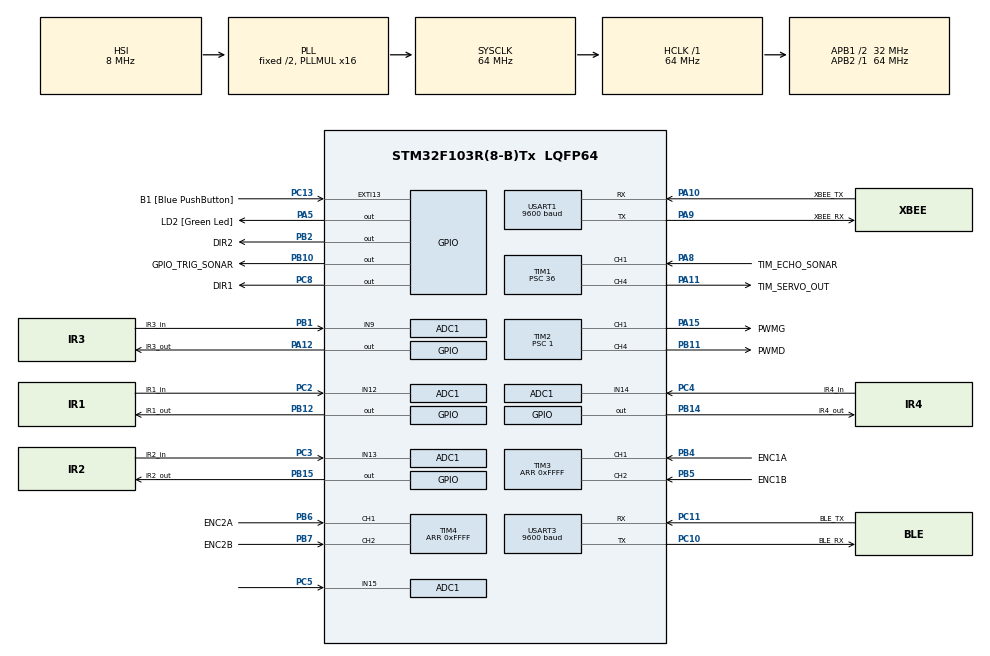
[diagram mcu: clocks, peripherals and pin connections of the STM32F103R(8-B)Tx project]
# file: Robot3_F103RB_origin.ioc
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ADC1.AWD1HighThreshold=4095
ADC1.AWD1ITMode=ENABLE
ADC1.AWD1LowThreshold=2363
ADC1.Channel-0\#ChannelRegularConversion=ADC_CHANNEL_9
ADC1.Channel-1\#ChannelRegularConversion=ADC_CHANNEL_12
ADC1.Channel-2\#ChannelRegularConversion=ADC_CHANNEL_13
ADC1.Channel-3\#ChannelRegularConversion=ADC_CHANNEL_14
ADC1.Channel-4\#ChannelRegularConversion=ADC_CHANNEL_15
ADC1.ContinuousConvMode=DISABLE
ADC1.DataAlign=ADC_DATAALIGN_RIGHT
ADC1.DiscontinuousConvMode=DISABLE
ADC1.EnableAnalogWatchDog=true
ADC1.EnableRegularConversion=ENABLE
ADC1.ExternalTrigConv=ADC_SOFTWARE_START
ADC1.InjNumberOfConversion=0
ADC1.NbrOfConversion=5
ADC1.NbrOfConversionFlag=1
ADC1.Rank-0\#ChannelRegularConversion=1
ADC1.Rank-1\#ChannelRegularConversion=2
ADC1.Rank-2\#ChannelRegularConversion=3
ADC1.Rank-3\#ChannelRegularConversion=4
ADC1.Rank-4\#ChannelRegularConversion=5
ADC1.SamplingTime-0\#ChannelRegularConversion=ADC_SAMPLETIME_239CYCLES_5
ADC1.SamplingTime-1\#ChannelRegularConversion=ADC_SAMPLETIME_239CYCLES_5
ADC1.SamplingTime-2\#ChannelRegularConversion=ADC_SAMPLETIME_239CYCLES_5
ADC1.SamplingTime-3\#ChannelRegularConversion=ADC_SAMPLETIME_239CYCLES_5
ADC1.SamplingTime-4\#ChannelRegularConversion=ADC_SAMPLETIME_239CYCLES_5
ADC1.ScanConvMode=ADC_SCAN_ENABLE
ADC1.WatchdogChannel=ADC_CHANNEL_15
ADC1.WatchdogMode=ADC_ANALOGWATCHDOG_SINGLE_REG
ADC1.master=1
Dma.ADC1.0.Direction=DMA_PERIPH_TO_MEMORY
Dma.ADC1.0.Instance=DMA1_Channel1
Dma.ADC1.0.MemDataAlignment=DMA_MDATAALIGN_HALFWORD
Dma.ADC1.0.MemInc=DMA_MINC_ENABLE
Dma.ADC1.0.Mode=DMA_CIRCULAR
Dma.ADC1.0.PeriphDataAlignment=DMA_PDATAALIGN_HALFWORD
Dma.ADC1.0.PeriphInc=DMA_PINC_DISABLE
Dma.ADC1.0.Priority=DMA_PRIORITY_LOW
Dma.Request0=ADC1
Mcu.Family=STM32F1
Mcu.Name=STM32F103R(8-B)Tx
Mcu.Package=LQFP64
NVIC.ADC1_2_IRQn=true\:0\:0\:false\:false\:true\:true\:true
NVIC.DMA1_Channel1_IRQn=true\:0\:0\:false\:false\:true\:true\:true
NVIC.EXTI15_10_IRQn=true\:0\:0\:false\:true\:true\:1\:true\:true
NVIC.PriorityGroup=NVIC_PRIORITYGROUP_4
NVIC.TIM1_CC_IRQn=true\:0\:0\:false\:false\:true\:true\:true
NVIC.TIM2_IRQn=true\:0\:0\:false\:false\:true\:true\:true
NVIC.USART1_IRQn=true\:0\:0\:false\:false\:true\:true\:true
NVIC.USART3_IRQn=true\:0\:0\:false\:true\:true\:2\:true\:true
PA10.GPIO_Label=XBEE_TX
PA10.Mode=Asynchronous
PA10.Signal=USART1_RX
PA11.GPIO_Label=TIM_SERVO_OUT
PA11.Signal=S_TIM1_CH4
PA12.GPIO_Label=IR3_out
PA12.Signal=GPIO_Output
PA13.GPIO_Label=TMS
PA13.Mode=Serial_Wire
PA13.Signal=SYS_JTMS-SWDIO
PA14.GPIO_Label=TCK
PA14.Mode=Serial_Wire
PA14.Signal=SYS_JTCK-SWCLK
PA15.GPIO_Label=PWMG
PA15.Signal=S_TIM2_CH1_ETR
PA2.GPIO_Label=USART_TX
PA2.GPIO_Mode=GPIO_MODE_AF_PP
PA2.GPIO_PuPd=GPIO_NOPULL
PA2.GPIO_Speed=GPIO_SPEED_FREQ_LOW
PA2.Signal=USART2_TX
PA3.GPIO_Label=USART_RX
PA3.GPIO_Mode=GPIO_MODE_AF_PP
PA3.GPIO_PuPd=GPIO_NOPULL
PA3.GPIO_Speed=GPIO_SPEED_FREQ_LOW
PA3.Signal=USART2_RX
PA5.GPIO_Label=LD2 [Green Led]
PA5.GPIO_ModeDefaultOutputPP=GPIO_MODE_OUTPUT_PP
PA5.GPIO_PuPd=GPIO_NOPULL
PA5.GPIO_Speed=GPIO_SPEED_FREQ_LOW
PA5.Signal=GPIO_Output
PA8.GPIO_Label=TIM_ECHO_SONAR
PA8.Signal=S_TIM1_CH1
PA9.GPIO_Label=XBEE_RX
PA9.Mode=Asynchronous
PA9.Signal=USART1_TX
PB1.GPIO_Label=IR3_in
PB1.Signal=ADCx_IN9
PB10.GPIO_Label=GPIO_TRIG_SONAR
PB10.Signal=GPIO_Output
PB11.GPIO_Label=PWMD
PB11.Signal=S_TIM2_CH4
PB12.GPIO_Label=IR1_out
PB12.Signal=GPIO_Output
PB14.GPIO_Label=IR4_out
PB14.Signal=GPIO_Output
PB15.GPIO_Label=IR2_out
PB15.Signal=GPIO_Output
PB2.GPIO_Label=DIR2
PB2.Signal=GPIO_Output
PB3.GPIO_Label=SWO
PB3.Signal=SYS_JTDO-TRACESWO
PB4.GPIO_Label=ENC1A
PB4.Signal=S_TIM3_CH1
PB5.GPIO_Label=ENC1B
PB5.Signal=S_TIM3_CH2
PB6.GPIO_Label=ENC2A
PB6.Signal=S_TIM4_CH1
PB7.GPIO_Label=ENC2B
PB7.Signal=S_TIM4_CH2
PC10.GPIO_Label=BLE_RX
PC10.Mode=Asynchronous
PC10.Signal=USART3_TX
PC11.GPIO_Label=BLE_TX
PC11.Mode=Asynchronous
PC11.Signal=USART3_RX
PC13-TAMPER-RTC.GPIO_Label=B1 [Blue PushButton]
PC13-TAMPER-RTC.GPIO_ModeDefaultEXTI=GPIO_MODE_IT_FALLING
PC13-TAMPER-RTC.GPIO_PuPd=GPIO_NOPULL
PC13-TAMPER-RTC.Signal=GPXTI13
PC14-OSC32_IN.Signal=RCC_OSC32_IN
PC15-OSC32_OUT.Signal=RCC_OSC32_OUT
PC2.GPIO_Label=IR1_in
PC2.Signal=ADCx_IN12
PC3.GPIO_Label=IR2_in
PC3.Signal=ADCx_IN13
PC4.GPIO_Label=IR4_in
PC4.Signal=ADCx_IN14
PC5.Signal=ADCx_IN15
PC8.GPIO_Label=DIR1
PC8.Signal=GPIO_Output
PD0-OSC_IN.Signal=RCC_OSC_IN
PD1-OSC_OUT.Signal=RCC_OSC_OUT
ProjectManager.HeapSize=0x200
ProjectManager.StackSize=0x400
ProjectManager.TargetToolchain=TrueSTUDIO
RCC.ADCPresc=RCC_ADCPCLK2_DIV8
RCC.AHBFreq_Value=64000000
RCC.APB1CLKDivider=RCC_HCLK_DIV2
RCC.APB1Freq_Value=32000000
RCC.APB1TimFreq_Value=64000000
RCC.APB2Freq_Value=64000000
RCC.APB2TimFreq_Value=64000000
RCC.HCLKFreq_Value=64000000
RCC.PLLMUL=RCC_PLL_MUL16
RCC.SYSCLKFreq_VALUE=64000000
RCC.SYSCLKSource=RCC_SYSCLKSOURCE_PLLCLK
RCC.USBFreq_Value=64000000
SH.ADCx_IN12.0=ADC1_IN12,IN12
SH.ADCx_IN13.0=ADC1_IN13,IN13
SH.ADCx_IN14.0=ADC1_IN14,IN14
SH.ADCx_IN15.0=ADC1_IN15,IN15
SH.ADCx_IN9.0=ADC1_IN9,IN9
SH.S_TIM1_CH1.0=TIM1_CH1,PWM_Input_1
SH.S_TIM1_CH4.0=TIM1_CH4,PWM Generation4 CH4
SH.S_TIM2_CH1_ETR.0=TIM2_CH1,PWM Generation1 CH1
SH.S_TIM2_CH4.0=TIM2_CH4,PWM Generation4 CH4
SH.S_TIM3_CH1.0=TIM3_CH1,Encoder_Interface
SH.S_TIM3_CH2.0=TIM3_CH2,Encoder_Interface
SH.S_TIM4_CH1.0=TIM4_CH1,Encoder_Interface
SH.S_TIM4_CH2.0=TIM4_CH2,Encoder_Interface
TIM1.AutoReloadPreload=TIM_AUTORELOAD_PRELOAD_ENABLE
TIM1.Channel-PWM\ Generation4\ CH4=TIM_CHANNEL_4
TIM1.ICFilter_1=8
TIM1.ICPolarity_1=TIM_INPUTCHANNELPOLARITY_RISING
TIM1.OCPolarity_4=TIM_OCPOLARITY_HIGH
TIM1.Period=0xFFFF
TIM1.Prescaler=36
TIM2.AutoReloadPreload=TIM_AUTORELOAD_PRELOAD_DISABLE
TIM2.Channel-PWM\ Generation1\ CH1=TIM_CHANNEL_1
TIM2.Channel-PWM\ Generation4\ CH4=TIM_CHANNEL_4
TIM2.Period=64000
TIM2.Prescaler=1
TIM3.AutoReloadPreload=TIM_AUTORELOAD_PRELOAD_ENABLE
TIM3.EncoderMode=TIM_ENCODERMODE_TI12
TIM3.IC1Filter=8
TIM3.IC1Polarity=TIM_ICPOLARITY_RISING
TIM3.IC2Filter=8
TIM3.IC2Polarity=TIM_ICPOLARITY_RISING
TIM3.Period=0xFFFF
TIM4.AutoReloadPreload=TIM_AUTORELOAD_PRELOAD_ENABLE
TIM4.EncoderMode=TIM_ENCODERMODE_TI12
TIM4.IC1Filter=8
TIM4.IC1Polarity=TIM_ICPOLARITY_RISING
TIM4.IC2Filter=8
TIM4.IC2Polarity=TIM_ICPOLARITY_RISING
TIM4.Period=0xFFFF
USART1.BaudRate=9600
USART1.VirtualMode=VM_ASYNC
USART3.BaudRate=9600
USART3.VirtualMode=VM_ASYNC
VP_TIM1_VS_ClockSourceINT.Mode=Internal
VP_TIM2_VS_ClockSourceINT.Mode=Internal
board=NUCLEO-F103RB

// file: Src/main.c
/**
  ******************************************************************************
  * @file           : main.c
  * @brief          : Main program body
  ******************************************************************************
  ** This notice applies to any and all portions of this file
  * that are not between comment pairs USER CODE BEGIN and
  * USER CODE END. Other portions of this file, whether
  * inserted by the user or by software development tools
  * are owned by their respective copyright owners.
  *
  * COPYRIGHT(c) 2020 STMicroelectronics
  *
  * Redistribution and use in source and binary forms, with or without modification,
  * are permitted provided that the following conditions are met:
  *   1. Redistributions of source code must retain the above copyright notice,
  *      this list of conditions and the following disclaimer.
  *   2. Redistributions in binary form must reproduce the above copyright notice,
  *      this list of conditions and the following disclaimer in the documentation
  *      and/or other materials provided with the distribution.
  *   3. Neither the name of STMicroelectronics nor the names of its contributors
  *      may be used to endorse or promote products derived from this software
  *      without specific prior written permission.
  *
  * THIS SOFTWARE IS PROVIDED BY THE COPYRIGHT HOLDERS AND CONTRIBUTORS "AS IS"
  * AND ANY EXPRESS OR IMPLIED WARRANTIES, INCLUDING, BUT NOT LIMITED TO, THE
  * IMPLIED WARRANTIES OF MERCHANTABILITY AND FITNESS FOR A PARTICULAR PURPOSE ARE
  * DISCLAIMED. IN NO EVENT SHALL THE COPYRIGHT HOLDER OR CONTRIBUTORS BE LIABLE
  * FOR ANY DIRECT, INDIRECT, INCIDENTAL, SPECIAL, EXEMPLARY, OR CONSEQUENTIAL
  * DAMAGES (INCLUDING, BUT NOT LIMITED TO, PROCUREMENT OF SUBSTITUTE GOODS OR
  * SERVICES; LOSS OF USE, DATA, OR PROFITS; OR BUSINESS INTERRUPTION) HOWEVER
  * CAUSED AND ON ANY THEORY OF LIABILITY, WHETHER IN CONTRACT, STRICT LIABILITY,
  * OR TORT (INCLUDING NEGLIGENCE OR OTHERWISE) ARISING IN ANY WAY OUT OF THE USE
  * OF THIS SOFTWARE, EVEN IF ADVISED OF THE POSSIBILITY OF SUCH DAMAGE.
  *
  ******************************************************************************
  */
#include "main.h"
#include "stm32f1xx_hal.h"
#include "adc.h"
#include "dma.h"
#include "tim.h"
#include "usart.h"
#include "gpio.h"

/* USER CODE BEGIN Includes */
#include <stdlib.h>
#include <stdio.h>
/* USER CODE END Includes */

/* USER CODE BEGIN PV */
/* Private variables ---------------------------------------------------------*/
#define AVANCE 	GPIO_PIN_SET
#define RECULE  GPIO_PIN_RESET
#define POURCENT 640
#define Seuil_Dist_4 1289 // corespond � 10 cm.
#define Seuil_Dist_3 1093
#define Seuil_Dist_1 1003
#define Seuil_Dist_2 1142
#define V1 38
#define V2 56
#define V3 76
#define Vmax 95
#define T_2_S 1000 //( pwm p�riode = 2 ms )
#define T_200_MS 100
#define T_2000_MS 1000
#define CKp_D 100  //80 Robot1
#define CKp_G 100  //80 Robot1
#define CKi_D 80  //50 Robot1
#define CKi_G 80  //50 Robot1
#define CKd_D 0
#define CKd_G 0
#define DELTA 0x50

// Variable du PWM compare servo-moteur
#define SERVO_DROITE	800
#define SERVO_CENTRE	2300
#define SERVO_GAUCHE	7100

/*
Lorsque on envoit une commande en bluetooth avec le téléphone, on envoit :
Avance = FX (X = 1, 2, 3)
Recule = BX
Droite = RX
Gauche = LX
Park = W/w
Movpark = U/u

Une fois cette variable récupéré, on va mettre NewCmde =1 (dans l'intérruption) et dans gestion_commande() on va détecter si on a recue une commande
On check la commande que c'est et surtout l'état dans lequel on est...
Parce que si on envoit F alors qu'on avance déja, on doit augmenter la vitesse alors que si on est dans recule, on s'arrete
*/

enum CMDE {
	START,
	STOP,
	AVANT,
	ARRIERE,
	DROITE,
	GAUCHE,
	PARK,
	MOVPARK
};

volatile enum CMDE CMDE;
volatile unsigned char New_CMDE = 0; // Si ya une nouvelle commande

// Mode de fonctionnement du robot
enum MODE {
	SLEEP, ACTIF, PARKMODE, GOPARK
};

volatile enum MODE Mode; // Mode du robot en cours (avancer / Reculer etc... ou MOVPARK / PARK)

volatile uint16_t Dist_ACS_1, Dist_ACS_2, Dist_ACS_3, Dist_ACS_4, VBat; // Valeurs ADC
volatile unsigned int Time = 0;
volatile unsigned int Tech = 0;

volatile unsigned int Taddon = 0;
volatile unsigned int Tservo = 0; // Permet d'attendre que le servo se positionne (2 secondes minimum)

volatile unsigned int TRotation = 0;
volatile unsigned int T_sonar = 0; // Temps permettant de faire une mesure tous les X ms
uint16_t adc_buffer[10];
uint16_t Buff_Dist[8];

uint8_t BLUE_RX; // Buffer des commandes bluetooth recues
uint8_t XBEE_RX[7]; // ZIGBEE RECUES

char XBEE_TX[7]; // ZIGBEE TRANSMISES
char BLUE_ETAT_TX[100]; // Bluetooth recues
char BLUE_SONAR_TX[100];
volatile int position_recue = 0;
volatile int confirmation_reception_position = 0;
volatile char adresse_cible_xbee = 0;
volatile char adresse_robot = 'B';

uint16_t _DirG, _DirD, DirD, DirG; // Futures directions des chenilles D et G et les actuelles
uint16_t _CVitD, CVitD = 0; // Future vitesse D et actuelle
uint16_t _CVitG, CVitG = 0; // Future vitesse G et actuelle
uint16_t VitD, VitG, DistD, DistG;
uint16_t DistD_old = 0; // Ancienne distance parcourue par D
uint16_t DistG_old = 0;// Ancienne distance parcourue par G
int Cmde_VitD = 0;
int Cmde_VitG = 0;
unsigned long Dist_parcours = 0;
unsigned long _Dist_parcours = 0;
volatile uint32_t Dist_Obst;
uint32_t Dist_Obst_;
uint32_t Dist_Obst_cm;
uint32_t Dist;
uint8_t UNE_FOIS = 1;
uint32_t OV = 0;

volatile uint32_t position_test[] = {0, 0, 0}; // Positions de test de assistpark
uint32_t position[3]; // POsitions temporaires de park

uint16_t getTicks = 0;
uint16_t getTicksBack = 0;

volatile uint32_t distance_sonar = 0;
/* USER CODE END PV */

void SystemClock_Config(void);
static void MX_NVIC_Init(void);

/* USER CODE BEGIN PFP */
/* Private function prototypes -----------------------------------------------*/
void Gestion_Commandes(void);
void regulateur(void);
void controle(void);
void Calcul_Vit(void);
void ACS(void);
void HAL_GPIO_ACQ_SONAR(void);
void HAL_MOV_SERVO(void);
void park (void);
void addon(void);
int respectTime(int chrono, int timeToWait);
void attentePark(void);
void avance(void);
void recule(void);
void droite(void);
void gauche(void);
void stop(void);
/* USER CODE END PFP */

int main(void)
{

  /* MCU Configuration----------------------------------------------------------*/

  /* Reset of all peripherals, Initializes the Flash interface and the Systick. */
  HAL_Init();

  /* USER CODE BEGIN Init */
	Dist_Obst = 0;
  /* USER CODE END Init */

  /* Configure the system clock */
  SystemClock_Config();

  /* Initialize all configured peripherals */
  MX_GPIO_Init();
  MX_DMA_Init();
  MX_ADC1_Init();
  MX_TIM2_Init();
  MX_TIM3_Init();
  MX_TIM4_Init();
  MX_USART3_UART_Init();
  MX_TIM1_Init();
  MX_USART1_UART_Init();

  /* Initialize interrupts */
  MX_NVIC_Init();
  /* USER CODE BEGIN 2 */
	HAL_SuspendTick(); // suppresion des Tick interrupt pour le mode sleep.

	HAL_TIM_PWM_Start(&htim2, TIM_CHANNEL_4);  // Start PWM motor
	HAL_TIM_PWM_Start(&htim2, TIM_CHANNEL_1);
	HAL_TIM_Base_Start_IT(&htim2);  // Start IT sur font montant PWM

	HAL_TIM_Encoder_Start(&htim3, TIM_CHANNEL_ALL);
	HAL_TIM_Encoder_Start(&htim4, TIM_CHANNEL_ALL);

	__HAL_TIM_SET_COUNTER(&htim4, 30000);
	__HAL_TIM_SET_COUNTER(&htim3, 30000);

	HAL_UART_Receive_IT(&huart3, &BLUE_RX, 1);
	HAL_UART_Receive_IT(&huart1, XBEE_RX, 7);
	HAL_ADC_Start_IT(&hadc1);

	HAL_TIM_IC_Start_IT(&htim1, TIM_CHANNEL_1); // start interrupt TIM1 sur channel 1
	HAL_TIM_IC_Start_IT(&htim1, TIM_CHANNEL_2); // start interrupt TIM1 sur channel 2 - sonar
	HAL_TIM_Base_Start_IT(&htim1);

	HAL_GPIO_WritePin(GPIOB, GPIO_PIN_10, GPIO_PIN_SET);  //mettre trig_sonar en marchant

	HAL_TIM_PWM_Start(&htim1, TIM_CHANNEL_4); //lancement de PWM servo moteur

	__HAL_TIM_SET_COMPARE(&htim1, TIM_CHANNEL_4, SERVO_CENTRE);

	CMDE = STOP;
	New_CMDE = 1;

  /* USER CODE END 2 */

  /* Infinite loop */
  /* USER CODE BEGIN WHILE */

  while (1)
  {
	  Gestion_Commandes();
	  controle();
  /* USER CODE END WHILE */

  }

}

void SystemClock_Config(void)
{

  RCC_OscInitTypeDef RCC_OscInitStruct;
  RCC_ClkInitTypeDef RCC_ClkInitStruct;
  RCC_PeriphCLKInitTypeDef PeriphClkInit;

    /**Initializes the CPU, AHB and APB busses clocks
    */
  RCC_OscInitStruct.OscillatorType = RCC_OSCILLATORTYPE_HSI;
  RCC_OscInitStruct.HSIState = RCC_HSI_ON;
  RCC_OscInitStruct.HSICalibrationValue = 16;
  RCC_OscInitStruct.PLL.PLLState = RCC_PLL_ON;
  RCC_OscInitStruct.PLL.PLLSource = RCC_PLLSOURCE_HSI_DIV2;
  RCC_OscInitStruct.PLL.PLLMUL = RCC_PLL_MUL16;
  if (HAL_RCC_OscConfig(&RCC_OscInitStruct) != HAL_OK)
  {
    _Error_Handler(__FILE__, __LINE__);
  }

    /**Initializes the CPU, AHB and APB busses clocks
    */
  RCC_ClkInitStruct.ClockType = RCC_CLOCKTYPE_HCLK|RCC_CLOCKTYPE_SYSCLK
                              |RCC_CLOCKTYPE_PCLK1|RCC_CLOCKTYPE_PCLK2;
  RCC_ClkInitStruct.SYSCLKSource = RCC_SYSCLKSOURCE_PLLCLK;
  RCC_ClkInitStruct.AHBCLKDivider = RCC_SYSCLK_DIV1;
  RCC_ClkInitStruct.APB1CLKDivider = RCC_HCLK_DIV2;
  RCC_ClkInitStruct.APB2CLKDivider = RCC_HCLK_DIV1;

  if (HAL_RCC_ClockConfig(&RCC_ClkInitStruct, FLASH_LATENCY_2) != HAL_OK)
  {
    _Error_Handler(__FILE__, __LINE__);
  }

  PeriphClkInit.PeriphClockSelection = RCC_PERIPHCLK_ADC;
  PeriphClkInit.AdcClockSelection = RCC_ADCPCLK2_DIV8;
  if (HAL_RCCEx_PeriphCLKConfig(&PeriphClkInit) != HAL_OK)
  {
    _Error_Handler(__FILE__, __LINE__);
  }

    /**Configure the Systick interrupt time
    */
  HAL_SYSTICK_Config(HAL_RCC_GetHCLKFreq()/1000);

    /**Configure the Systick
    */
  HAL_SYSTICK_CLKSourceConfig(SYSTICK_CLKSOURCE_HCLK);

  /* SysTick_IRQn interrupt configuration */
  HAL_NVIC_SetPriority(SysTick_IRQn, 0, 0);
}

/**
  * @brief NVIC Configuration.
  * @retval None
  */
static void MX_NVIC_Init(void)
{
  /* EXTI15_10_IRQn interrupt configuration */
  HAL_NVIC_SetPriority(EXTI15_10_IRQn, 0, 0);
  HAL_NVIC_EnableIRQ(EXTI15_10_IRQn);
  /* USART3_IRQn interrupt configuration */
  HAL_NVIC_SetPriority(USART3_IRQn, 0, 0);
  HAL_NVIC_EnableIRQ(USART3_IRQn);
}

/* USER CODE BEGIN 4 */
void Gestion_Commandes(void)
{
	enum ETAT {
		VEILLE,
		ARRET,
		AV1,
		AV2,
		AV3,
		RV1,
		RV2,
		RV3,
		DV1,
		DV2,
		DV3,
		GV1,
		GV2,
		GV3
	};
	static enum ETAT Etat = VEILLE;

if (New_CMDE) {
		New_CMDE = 0;
		_Dist_parcours = Dist_parcours;
		Dist_parcours = 0;
		switch (CMDE) {
			case STOP:
			{
				_CVitD = _CVitG = 0;
				// Mise en sommeil: STOP mode , reiveil via IT BP1
				Etat = VEILLE;
				Mode = SLEEP;

				break;
			}
			case START:
			{
				// rziveil syteme grace a l'IT BP1
				Etat = ARRET;
				Mode = SLEEP;

				break;
			}
			case AVANT:
			{
				switch (Etat) {
				case VEILLE: {
					Etat = VEILLE;
					Mode = SLEEP;
					break;
				}
				case ARRET: {
					_DirG = AVANCE;
					_DirD = AVANCE;
					_CVitG = V1;
					_CVitD = V1;
					Etat = AV1;
					Mode = ACTIF;
					break;
				}
				case AV1: {
					_DirG = AVANCE;
					_DirD = AVANCE;
					_CVitG = V2;
					_CVitD = V2;
					Etat = AV2;
					Mode = ACTIF;
					break;
				}
				case AV2: {
					_DirG = AVANCE;
					_DirD = AVANCE;
					_CVitG = V3;
					_CVitD = V3 ;
					Etat = AV3;
					Mode = ACTIF;
					break;
				}
				case AV3: {
					_DirG = AVANCE;
					_DirD = AVANCE;
					_CVitG = V3;
					_CVitD = V3 ;
					Etat = AV3;
					Mode = ACTIF;
					break;
				}
				case RV1: {
					_DirG = RECULE;
					_DirD = RECULE;
					_CVitG = 0;
					_CVitD = 0;
					Etat = ARRET;
					Mode = SLEEP;

					break;
				}
				case RV2: {
					_DirG = RECULE;
					_DirD = RECULE;
					_CVitG = V1;
					_CVitD = V1;
					Etat = RV1;
					Mode = ACTIF;
					break;
				}
				case RV3: {
					_DirG = RECULE;
					_DirD = RECULE;
					_CVitG = V2;
					_CVitD = V2;
					Etat = RV2;
					Mode = ACTIF;
					break;
				}
				case DV1: {
					_DirG = AVANCE;
					_DirD = AVANCE;
					_CVitG = V1;
					_CVitD = V1;
					Etat = AV1;
					Mode = ACTIF;
					break;
				}
				case DV2: {
					_DirG = AVANCE;
					_DirD = AVANCE;
					_CVitG = V2;
					_CVitD = V2;
					Etat = AV2;
					Mode = ACTIF;
					break;
				}
				case DV3: {
					_DirG = AVANCE;
					_DirD = AVANCE;
					_CVitG = V3;
					_CVitD = V3;
					Etat = AV3;
					Mode = ACTIF;
					break;
				}
				case GV1: {
					_DirG = AVANCE;
					_DirD = AVANCE;
					_CVitG = V1;
					_CVitD = V1;
					Etat = AV2;
					Mode = ACTIF;
					break;
				}
				case GV2: {
					_DirG = AVANCE;
					_DirD = AVANCE;
					_CVitG = V2;
					_CVitD = V2;
					Etat = AV2;
					Mode = ACTIF;
					break;
				}
				case GV3: {
					_DirG = AVANCE;
					_DirD = AVANCE;
					_CVitG = V3;
					_CVitD = V3;
					Etat = AV3;
					Mode = ACTIF;
					break;
				}
				}
				break;
			}
			case ARRIERE:
			{
				switch (Etat) {
				case VEILLE: {
					Etat = VEILLE;
					Mode = SLEEP;
					break;
				}
				case ARRET: {
					_DirG = RECULE;
					_DirD = RECULE;
					_CVitG = V1;
					_CVitD = V1;
					Etat = RV1;
					Mode = ACTIF;
					break;
				}
				case AV1: {
					_DirG = AVANCE;
					_DirD = AVANCE;
					_CVitG = 0;
					_CVitD = 0;
					Etat = ARRET;
					Mode = SLEEP;

					break;
				}
				case AV2: {
					_DirG = AVANCE;
					_DirD = AVANCE;
					_CVitG = V1;
					_CVitD = V1;
					Etat = AV1;
					Mode = ACTIF;
					break;
				}
				case AV3: {
					_DirG = AVANCE;
					_DirD = AVANCE;
					_CVitG = V2;
					_CVitD = V2;
					Etat = AV2;
					Mode = ACTIF;
					break;
				}
				case RV1: {
					_DirG = RECULE;
					_DirD = RECULE;
					_CVitG = V2;
					_CVitD = V2;
					Etat = RV2;
					Mode = ACTIF;
					break;
				}
				case RV2: {
					_DirG = RECULE;
					_DirD = RECULE;
					_CVitG = V3;
					_CVitD = V3;
					Etat = RV3;
					Mode = ACTIF;
					break;
				}
				case RV3: {
					_DirG = RECULE;
					_DirD = RECULE;
					_CVitG = V3;
					_CVitD = V3;
					Etat = RV3;
					Mode = ACTIF;
					break;
				}
				case DV1: {
					_DirG = RECULE;
					_DirD = RECULE;
					_CVitG = V1;
					_CVitD = V1;
					Etat = RV1;
					Mode = ACTIF;
					break;
				}
				case DV2: {
					_DirG = RECULE;
					_DirD = RECULE;
					_CVitG = V2;
					_CVitD = V2;
					Etat = RV2;
					Mode = ACTIF;
					break;
				}
				case DV3: {
					_DirG = RECULE;
					_DirD = RECULE;
					_CVitG = V3;
					_CVitD = V3;
					Etat = RV3;
					Mode = ACTIF;
					break;
				}
				case GV1: {
					_DirG = RECULE;
					_DirD = RECULE;
					_CVitG = V1;
					_CVitD = V1;
					Etat = RV1;
					Mode = ACTIF;
					break;
				}
				case GV2: {
					_DirG = RECULE;
					_DirD = RECULE;
					_CVitG = V2;
					_CVitD = V2;
					Etat = RV2;
					Mode = ACTIF;
					break;
				}
				case GV3: {
					_DirG = RECULE;
					_DirD = RECULE;
					_CVitG = V3;
					_CVitD = V3;
					Etat = RV3;
					Mode = ACTIF;
					break;
				}
				}
				break;
			}
			case DROITE:
			{
				switch (Etat) {
				case VEILLE: {
					Etat = VEILLE;
					Mode = SLEEP;
					break;
				}
				case ARRET: {
					_DirG = AVANCE;
					_DirD = RECULE;
					_CVitG = V1;
					_CVitD = V1;
					Etat = DV1;
					Mode = ACTIF;
					break;
				}
				case AV1: {
					_DirG = AVANCE;
					_DirD = RECULE;
					_CVitG = V1;
					_CVitD = V1;
					Etat = DV1;
					Mode = ACTIF;
					break;
				}
				case AV2: {
					_DirG = AVANCE;
					_DirD = RECULE;
					_CVitG = V2;
					_CVitD = V2;
					Etat = DV2;
					Mode = ACTIF;
					break;
				}
				case AV3: {
					_DirG = AVANCE;
					_DirD = RECULE;
					_CVitG = V3;
					_CVitD = V3;
					Etat = DV3;
					Mode = ACTIF;
					break;
				}
				case RV1: {
					_DirG = AVANCE;
					_DirD = RECULE;
					_CVitG = V1;
					_CVitD = V1;
					Etat = DV1;
					Mode = ACTIF;
					break;
				}
				case RV2: {
					_DirG = AVANCE;
					_DirD = RECULE;
					_CVitG = V2;
					_CVitD = V2;
					Etat = DV2;
					Mode = ACTIF;
					break;
				}
				case RV3: {
					_DirG = AVANCE;
					_DirD = RECULE;
					_CVitG = V3;
					_CVitD = V3;
					Etat = DV3;
					Mode = ACTIF;
					break;
				}
				case DV1: {
					_DirG = AVANCE;
					_DirD = RECULE;
					_CVitG = V2;
					_CVitD = V2;
					Etat = DV2;
					Mode = ACTIF;
					break;
				}
				case DV2: {
					_DirG = AVANCE;
					_DirD = RECULE;
					_CVitG = V3;
					_CVitD = V3;
					Etat = DV3;
					Mode = ACTIF;
					break;
				}
				case DV3: {
					_DirG = AVANCE;
					_DirD = RECULE;
					_CVitG = V3;
					_CVitD = V3;
					Etat = DV3;
					Mode = ACTIF;
					break;
				}
				case GV1: {
					_DirG = RECULE;
					_DirD = RECULE;
					_CVitG = 0;
					_CVitD = 0;
					Etat = ARRET;
					Mode = SLEEP;

					break;
				}
				case GV2: {
					_DirG = RECULE;
					_DirD = AVANCE;
					_CVitG = V1;
					_CVitD = V1;
					Etat = GV1;
					Mode = ACTIF;
					break;
				}
				case GV3: {
					_DirG = RECULE;
					_DirD = AVANCE;
					_CVitG = V2;
					_CVitD = V2;
					Etat = GV2;
					Mode = ACTIF;
					break;
				}
				}
				break;
			}
			case GAUCHE:
			{
				switch (Etat) {
				case VEILLE: {
					Etat = VEILLE;
					Mode = SLEEP;
					break;
				}
				case ARRET: {
					_DirG = RECULE;
					_DirD = AVANCE;
					_CVitG = V1;
					_CVitD = V1;
					Etat = GV1;
					Mode = ACTIF;
					break;
				}
				case AV1: {
					_DirG = RECULE;
					_DirD = AVANCE;
					_CVitG = V1;
					_CVitD = V1;
					Etat = GV1;
					Mode = ACTIF;
					break;
				}
				case AV2: {
					_DirG = RECULE;
					_DirD = AVANCE;
					_CVitG = V2;
					_CVitD = V2;
					Etat = GV2;
					Mode = ACTIF;
					break;
				}
				case AV3: {
					_DirG = RECULE;
					_DirD = AVANCE;
					_CVitG = V3;
					_CVitD = V3;
					Etat = GV3;
					Mode = ACTIF;
					break;
				}
				case RV1: {
					_DirG = RECULE;
					_DirD = AVANCE;
					_CVitG = V1;
					_CVitD = V1;
					Etat = GV1;
					Mode = ACTIF;
					break;
				}
				case RV2: {
					_DirG = RECULE;
					_DirD = AVANCE;
					_CVitG = V2;
					_CVitD = V2;
					Etat = GV2;
					Mode = ACTIF;
					break;
				}
				case RV3: {
					_DirG = RECULE;
					_DirD = AVANCE;
					_CVitG = V3;
					_CVitD = V3;
					Etat = GV3;
					Mode = ACTIF;
					break;
				}
				case DV1: {
					_DirG = RECULE;
					_DirD = RECULE;
					_CVitG = 0;
					_CVitD = 0;
					Etat = ARRET;
					Mode = SLEEP;

					break;
				}
				case DV2: {
					_DirG = AVANCE;
					_DirD = RECULE;
					_CVitG = V1;
					_CVitD = V1;
					Etat = DV1;
					Mode = ACTIF;
					break;
				}
				case DV3: {
					_DirG = AVANCE;
					_DirD = RECULE;
					_CVitG = V2;
					_CVitD = V2;
					Etat = DV2;
					Mode = ACTIF;
					break;
				}
				case GV1: {
					_DirG = RECULE;
					_DirD = AVANCE;
					_CVitG = V2;
					_CVitD = V2;
					Etat = GV2;
					Mode = ACTIF;
					break;
				}
				case GV2: {
					_DirG = RECULE;
					_DirD = AVANCE;
					_CVitG = V3;
					_CVitD = V3;
					Etat = GV3;
					Mode = ACTIF;
					break;
				}
				case GV3: {
					_DirG = RECULE;
					_DirD = AVANCE;
					_CVitG = V3;
					_CVitD = V3;
					Etat = GV3;
					Mode = ACTIF;
					break;
				}
				}
				break;

			}
			case PARK:
			{
				Etat = ARRET;
				Mode = PARKMODE;
				break;

			}
			case MOVPARK :
			{
				Etat = ARRET;
				Mode = GOPARK;
				break;
			}
		}
	}
}

void controle(void)
{

	if (Tech >= T_200_MS) {
		Tech = 0;
		ACS();
		Calcul_Vit();
		park();
		attentePark();
		regulateur();

	}

}

void ACS(void)
{
	enum ETAT {
		ARRET, ACTIFE
	};
	static enum ETAT Etat = ARRET;
	static uint16_t Delta1 = 0;
	static uint16_t Delta2 = 0;
	static uint16_t Delta3 = 0;
	static uint16_t Delta4 = 0;

	switch (Etat) {
	case ARRET: {
		if (Mode == ACTIF )
			Etat = ACTIFE;
		else {
			CVitD = _CVitD;
			CVitG = _CVitG;
			DirD = _DirD;
			DirG = _DirG;
		}
		break;
	}
	case ACTIFE: {
		if (Mode == SLEEP)
			Etat = ARRET;
		if (_DirD == AVANCE && _DirG == AVANCE) {
			if ((Dist_ACS_1 < Seuil_Dist_1 - Delta1)
					&& (Dist_ACS_2 < Seuil_Dist_2 - Delta2)) {
				CVitD = _CVitD;
				CVitG = _CVitG;
				DirD = _DirD;
				DirG = _DirG;
				Delta1 = Delta2 = 0;
			} else if ((Dist_ACS_1 < Seuil_Dist_1)
					&& (Dist_ACS_2 > Seuil_Dist_2)) {
				CVitD = V1;
				CVitG = V1;
				DirG = AVANCE;
				DirD = RECULE;
				Delta2 = DELTA;
			} else if ((Dist_ACS_1 > Seuil_Dist_1)
					&& (Dist_ACS_2 < Seuil_Dist_2)) {
				CVitD = V1;
				CVitG = V1;
				DirD = AVANCE;
				DirG = RECULE;
				Delta1 = DELTA;
			} else if ((Dist_ACS_1 > Seuil_Dist_1)
					&& (Dist_ACS_2 > Seuil_Dist_2)) {
				CVitD = 0;
				CVitG = 0;
				DirD = RECULE;
				DirG = RECULE;
			}
		} else if (_DirD == RECULE && _DirG == RECULE) {
			if ((Dist_ACS_3 < Seuil_Dist_3 - Delta3)
					&& (Dist_ACS_4 < Seuil_Dist_4 - Delta4)) {
				CVitD = _CVitD;
				CVitG = _CVitG;
				DirD = _DirD;
				DirG = _DirG;
				Delta3 = Delta4 = 0;
			} else if ((Dist_ACS_3 > Seuil_Dist_3)
					&& (Dist_ACS_4 < Seuil_Dist_4)) {
				CVitD = V1;
				CVitG = V1;
				DirD = AVANCE;
				DirG = RECULE;
				Delta3 = DELTA;
			} else if ((Dist_ACS_3 < Seuil_Dist_3)
					&& (Dist_ACS_4 > Seuil_Dist_4)) {
				CVitD = V1;
				CVitG = V1;
				DirG = AVANCE;
				DirD = RECULE;
				Delta4 = DELTA;
			} else if ((Dist_ACS_3 > Seuil_Dist_3)
					&& (Dist_ACS_4 > Seuil_Dist_4)) {
				CVitD = 0;
				CVitG = 0;
				DirD = RECULE;
				DirG = RECULE;
			}
		} else {
			CVitD = _CVitD;
			CVitG = _CVitG;
			DirD = _DirD;
			DirG = _DirG;
		}
		break;
	}
	}
}

void Calcul_Vit(void)
{

	DistD = __HAL_TIM_GET_COUNTER(&htim3);
	DistG = __HAL_TIM_GET_COUNTER(&htim4);

	VitD = abs(DistD - DistD_old);
	VitG = abs(DistG - DistG_old);
	DistD_old = DistD;
	DistG_old = DistG;
	if (DirD == DirG) {
		Dist_parcours = Dist_parcours + ((VitD + VitG) >> 1);
	}
}

void regulateur(void)
{
	enum ETAT {
		ARRET, ACTIFE
	};
	static enum ETAT Etat = ARRET;
	uint16_t Kp_D = CKp_D;
	uint16_t Kp_G = CKp_G;
	uint16_t Ki_D = CKi_D;
	uint16_t Ki_G = CKi_G;
	uint16_t Kd_D = CKd_D;
	uint16_t Kd_G = CKd_G;

	static int16_t ErreurD = 0;
	static int16_t ErreurG = 0;
	static int16_t ErreurD_old = 0;
	static int16_t ErreurG_old = 0;
	static int16_t S_erreursD = 0;
	static int16_t S_erreursG = 0;
	static int16_t V_erreurD = 0;
	static int16_t V_erreurG = 0;

	switch (Etat) {
	case ARRET: {
		if ((Mode == ACTIF) || (Mode == PARKMODE) || (Mode == GOPARK))
			Etat = ACTIFE;
		else {
			__HAL_TIM_SET_COMPARE(&htim2, TIM_CHANNEL_4, 0);
			__HAL_TIM_SET_COMPARE(&htim2, TIM_CHANNEL_1, 0);
			HAL_TIM_PWM_Stop(&htim2, TIM_CHANNEL_4);
			HAL_TIM_PWM_Stop(&htim2, TIM_CHANNEL_1);
			HAL_GPIO_WritePin(IR3_out_GPIO_Port, IR3_out_Pin, GPIO_PIN_RESET);
			HAL_GPIO_WritePin(IR4_out_GPIO_Port, IR4_out_Pin, GPIO_PIN_RESET);
			HAL_GPIO_WritePin(IR1_out_GPIO_Port, IR1_out_Pin, GPIO_PIN_RESET);
			HAL_GPIO_WritePin(IR2_out_GPIO_Port, IR2_out_Pin, GPIO_PIN_RESET);

			HAL_PWR_EnterSLEEPMode(PWR_LOWPOWERREGULATOR_ON,
					PWR_SLEEPENTRY_WFI);

			__HAL_TIM_SET_COMPARE(&htim2, TIM_CHANNEL_4, 0);
			__HAL_TIM_SET_COMPARE(&htim2, TIM_CHANNEL_1, 0);
			HAL_TIM_PWM_Start(&htim2, TIM_CHANNEL_4);
			HAL_TIM_PWM_Start(&htim2, TIM_CHANNEL_1);
			Time = 0;
		}
		break;
	}
	case ACTIFE: {
		if ((CVitD != 0) && (CVitG != 0))
			Time = 0;
		if ((Mode == SLEEP) && (VitD == 0) && (VitG == 0) && Time > T_2_S)
			Etat = ARRET;
		else {
			ErreurD = CVitD - VitD;
			ErreurG = CVitG - VitG;
			S_erreursD += ErreurD;
			S_erreursG += ErreurG;
			V_erreurD = ErreurD - ErreurD_old;
			V_erreurG = ErreurG - ErreurG_old;
			ErreurD_old = ErreurD;
			ErreurG_old = ErreurG;
			Cmde_VitD = (unsigned int) Kp_D * (int) (ErreurD)
					+ (unsigned int) Ki_D * ((int) S_erreursD)
					+ (unsigned int) Kd_D * (int) V_erreurD;
			Cmde_VitG = (unsigned int) Kp_G * (int) (ErreurG)
					+ (unsigned int) Ki_G * ((int) S_erreursG)
					+ (unsigned int) Kd_G * (int) V_erreurG;

			//Cmde_VitD = _CVitD*640;
			//Cmde_VitG = _CVitG*640;
			//	DirD = _DirD;
			//	DirG= _DirG;

			if (Cmde_VitD < 0)
				Cmde_VitD = 0;
			if (Cmde_VitG < 0)
				Cmde_VitG = 0;
			if (Cmde_VitD > 100 * POURCENT)
				Cmde_VitD = 100 * POURCENT;
			if (Cmde_VitG > 100 * POURCENT)
				Cmde_VitG = 100 * POURCENT;
			__HAL_TIM_SET_COMPARE(&htim2, TIM_CHANNEL_1, (uint16_t ) Cmde_VitG);
			__HAL_TIM_SET_COMPARE(&htim2, TIM_CHANNEL_4, (uint16_t ) Cmde_VitD);
			HAL_GPIO_WritePin(DIR1_GPIO_Port, DIR1_Pin, (GPIO_PinState) DirD);
			HAL_GPIO_WritePin(DIR2_GPIO_Port, DIR2_Pin, (GPIO_PinState) DirG);

		}
		break;
	}
	}
}

void park(void)
{
	enum ETAT {
			ARRET, SERVO_X0, MESURE_X0, VAL_X0, SERVO_Y0, MESURE_Y0, VAL_Y0, SERVO_Z0, MESURE_Z0, VAL_Z0, SEND_ZIGBEE, RECEPTION_ADDR
		};
	static enum ETAT Etat = ARRET;

	switch(Etat) {
		case ARRET : {
			if(Mode == PARKMODE) { // Si on est dans le parkmode on continue
				Etat = SERVO_X0;
				HAL_TIM_PWM_Start(&htim1,TIM_CHANNEL_4); // Arrete pour eviter les bugs
				distance_sonar = 0;
				Tservo = 0;

			}/*else{
				// AECRIRE
			}*/

			break;
		}

		case SERVO_X0 : {
			__HAL_TIM_SET_COMPARE(&htim1, TIM_CHANNEL_4, SERVO_GAUCHE); // Set to X0

			if(Tservo >= T_2_S){
				Tservo = 0;
				Etat = MESURE_X0;
			}

			break;
		}
		case MESURE_X0 : {
			HAL_GPIO_WritePin(GPIOB, GPIO_PIN_10, GPIO_PIN_SET);

			Etat = VAL_X0;
			break;
		}
		case VAL_X0 : {
			while(distance_sonar == 0);
			position_test[2] = distance_sonar;
			distance_sonar = 0;

			Tservo = 0;

			Etat = SERVO_Y0;
			break;
		}
		case SERVO_Y0 : {
			__HAL_TIM_SET_COMPARE(&htim1, TIM_CHANNEL_4, SERVO_CENTRE); // Set to Y0

			if(Tservo >= T_2_S){
				Tservo = 0;
				Etat = MESURE_Y0;
			}

			break;

		}
		case MESURE_Y0 : {
			HAL_GPIO_WritePin(GPIOB, GPIO_PIN_10, GPIO_PIN_SET);

			Etat = VAL_Y0;
			break;
		}
		case VAL_Y0 : {
			while(distance_sonar == 0);
			position_test[0] = distance_sonar;
			distance_sonar = 0;

			Tservo = 0;

			Etat = SERVO_Z0;
			break;
		}
		case SERVO_Z0 : {
			__HAL_TIM_SET_COMPARE(&htim1, TIM_CHANNEL_4, SERVO_DROITE); // Set to Z0

			if(Tservo >= T_2_S){
				Tservo = 0;
				Etat = MESURE_Z0;
			}

			break;

		}
		case MESURE_Z0 : {
			HAL_GPIO_WritePin(GPIOB, GPIO_PIN_10, GPIO_PIN_SET);

			Etat = VAL_Z0;
			break;
		}
		case VAL_Z0 : {
			while(distance_sonar == 0);
			position_test[1] = distance_sonar;
			distance_sonar = 0;
			int cx = snprintf(BLUE_SONAR_TX, 100, "X = %d cm- Y = %d cm- Z = %d cm\n", (int)position_test[2], (int)position_test[0], (int)position_test[1]);
			HAL_UART_Transmit(&huart3, (uint8_t*) BLUE_SONAR_TX, cx, HAL_MAX_DELAY);

			Etat = SEND_ZIGBEE;
			break;
		}
		case SEND_ZIGBEE : {
			if (adresse_cible_xbee == 0) {
			snprintf(XBEE_TX, 7, "XXA%c---", adresse_robot);
			HAL_UART_Transmit(&huart1, (uint8_t*) XBEE_TX, 7, HAL_MAX_DELAY); //demande d'adresse
			}else{
				int cx = snprintf(BLUE_ETAT_TX, 100, "FINI PARK\n");
				HAL_UART_Transmit(&huart3, (uint8_t*) BLUE_ETAT_TX, cx, HAL_MAX_DELAY);
				Etat = RECEPTION_ADDR;
			}

			break;
		}
		case RECEPTION_ADDR : {

			int cx = snprintf(BLUE_ETAT_TX, 100, "ADRESSE RECUE : %d\n", (char)adresse_cible_xbee);
			HAL_UART_Transmit(&huart3, (uint8_t*) BLUE_ETAT_TX, cx, HAL_MAX_DELAY);

			if(confirmation_reception_position == 0) {
				snprintf(XBEE_TX, 7, "X%cP%c%c%c%c",adresse_cible_xbee, (char)adresse_cible_xbee,(char)position_test[2], (char)position_test[0], (char)position_test[1]);
				HAL_UART_Transmit(&huart1, (uint8_t*) XBEE_TX, 7, HAL_MAX_DELAY); //demande d'adresse

			}else{
				Etat = ARRET;
				Mode = SLEEP;
			}

			break;
		}
	}
}

void attentePark(void)
{
	enum ETAT {
			ARRET, DIALOGUE_ROBOT_MAITRE, AVANCE_X, ROTATION_ANTIHORAIRE, SERVO_Z, MESURE_Z, VAL_Z, RECULE_Z, ROTATION_HORAIRE,SONAR_X,  MESURE_X, VAL_X, AVANCE_FINAL_X, MODE_PARK
		};
	static enum ETAT Etat = ARRET;

	switch(Etat) {
		case ARRET : {
			if(Mode == GOPARK) {
				Dist_parcours = 0;
				HAL_TIM_PWM_Start(&htim1, TIM_CHANNEL_4); //lancement de PWM servo moteur

				Etat = DIALOGUE_ROBOT_MAITRE;
			}
			break;
		}
		case DIALOGUE_ROBOT_MAITRE : {

			if(position_recue) {
				getTicksBack = __HAL_TIM_GET_COUNTER(&htim3);
				Etat = AVANCE_X;
			}

			break;
		}
		case AVANCE_X : {
			avance();
			getTicks = __HAL_TIM_GET_COUNTER(&htim3);
			if(abs(getTicks-getTicksBack) >= 527) {
				stop();
				getTicksBack = __HAL_TIM_GET_COUNTER(&htim4);    //mesure de nombres des tics
				Etat = ROTATION_ANTIHORAIRE;
			}
			break;
		}
		case ROTATION_ANTIHORAIRE : {
			gauche();
			getTicks = __HAL_TIM_GET_COUNTER(&htim4);

			if(abs( getTicks - getTicksBack ) >= 290) {
				stop();
				Tservo = 0;
				Etat = SERVO_Z;
			}

			break;
		}
		case SERVO_Z : {
			__HAL_TIM_SET_COMPARE(&htim1, TIM_CHANNEL_4, SERVO_CENTRE); // Set to Y0

			if(Tservo >= T_2_S) {
				Etat = MESURE_Z;
			}
			break;

		}
		case MESURE_Z : {
			HAL_GPIO_WritePin(GPIOB, GPIO_PIN_10, GPIO_PIN_SET);
			Etat = VAL_Z;
			break;
		}
		case VAL_Z : {
			while(distance_sonar == 0);
			position[2] = distance_sonar; //position = [x, y, z]
			Dist_parcours = 0;
			int cx = snprintf(BLUE_ETAT_TX, 100, "Dist = %d cm -- go = %d cm\n", (int)position[2], (int)position_test[2]);
			HAL_UART_Transmit(&huart3, (uint8_t*) BLUE_ETAT_TX, cx, HAL_MAX_DELAY);
			getTicksBack = __HAL_TIM_GET_COUNTER(&htim3);    //mesure de nombres des tics
			Etat = RECULE_Z;
			break;
		}
		case RECULE_Z : {
			if(position[2] > position_test[2]+15){
				avance();
				getTicks = __HAL_TIM_GET_COUNTER(&htim3);
				if(abs(getTicks - getTicksBack) >= (abs(position_test[2]+30 - position[2]))*17.58) { //conversion : 334 tops = 1 tour de roue = 19cm
					stop();
					getTicksBack = __HAL_TIM_GET_COUNTER(&htim3);
					Etat = ROTATION_HORAIRE;
				}

			}else if (position[2] < position_test[2]+15) {
				recule();
				getTicks = __HAL_TIM_GET_COUNTER(&htim3);
				if(abs(getTicks - getTicksBack) >= (abs(position_test[2]+10 - position[2]))*17.58) { //conversion : 334 tops = 1 tour de roue = 19cm
					stop();
					getTicksBack = __HAL_TIM_GET_COUNTER(&htim3);
					Etat = ROTATION_HORAIRE;
				}

			}

			break;
		}
		case ROTATION_HORAIRE : {
			droite();
			getTicks = __HAL_TIM_GET_COUNTER(&htim3);
			if(abs(getTicks - getTicksBack) >= 380){
				stop();
				Tservo = 0;
				Etat = SONAR_X;
			}
			break;
		}
		case SONAR_X : {
			__HAL_TIM_SET_COMPARE(&htim1, TIM_CHANNEL_4, SERVO_CENTRE); // Set to Y0

			if(Tservo >= T_2_S) {
				Etat = MESURE_X;
			}
			break;
		}
		case MESURE_X : {

			HAL_GPIO_WritePin(GPIOB, GPIO_PIN_10, GPIO_PIN_SET);
			Etat = VAL_X;
			break;
		}
		case VAL_X : {
			while(distance_sonar == 0);
			position[0] = distance_sonar; //position = [x, y, z]
			distance_sonar = 0;
			Dist_parcours = 0;
			int cx = snprintf(BLUE_ETAT_TX, 100, "Dist = %d cm -- go = %d cm\n", (int)position[0], (int)position_test[0]);
			HAL_UART_Transmit(&huart3, (uint8_t*) BLUE_ETAT_TX, cx, HAL_MAX_DELAY);
			getTicksBack = __HAL_TIM_GET_COUNTER(&htim3);
			Etat = AVANCE_FINAL_X;
			break;
		}
		case AVANCE_FINAL_X : {
			avance();
			getTicks = __HAL_TIM_GET_COUNTER(&htim3);

			if(abs(getTicks - getTicksBack) >= (abs(position[0] - position_test[0])-13)*17.58) {
				stop();
				adresse_cible_xbee = 0;
				confirmation_reception_position = 0;
				Etat = MODE_PARK;
			}
			break;
		}
		case MODE_PARK : {
			Etat = ARRET;
			Mode = PARKMODE;
			break;
		}

	}

}

void avance(void) {
	_DirD = AVANCE;
	_DirG = AVANCE;
	_CVitD = V1;
	_CVitG = V1;

}

void recule(void) {
	_DirD = RECULE;
	_DirG = RECULE;
	_CVitD = V1;
	_CVitG = V1;
}

void droite(void) {
	_DirD = RECULE;
	_DirG = AVANCE;
	_CVitD = V1;
	_CVitG = V1;
}

void gauche(void) {
	_DirD = AVANCE;
	_DirG = RECULE;
	_CVitD = V1;
	_CVitG = V1;
}

void stop(void) {
	_CVitD = 0;
	_CVitG = 0;
}

/*
 *
 *
 *
 * 29 cm pour 510 top 19cm ==>
 */

void HAL_UART_RxCpltCallback(UART_HandleTypeDef *huart)
{

	if (huart->Instance == USART3) {

		switch (BLUE_RX) {
		case 'F': {
			CMDE = AVANT;
			//New_CMDE = 1;
			break;
		}

		case 'B': {
			CMDE = ARRIERE;
			//New_CMDE = 1;
			break;
		}
		case 'V': {
			CMDE = STOP;
			New_CMDE = 1;
			break;
		}

		case 'L': {
			CMDE = GAUCHE;
			//New_CMDE = 1;
			break;
		}

		case 'R': {
			CMDE = DROITE;
			//New_CMDE = 1;
			break;
		}

		case 'D':{
			// disconnect bluetooth
			break;
		}
		case 'W' : {
			CMDE = PARK;
			New_CMDE = 1;
			break;
		}
		case 'w' : {
			CMDE = PARK;
			New_CMDE = 1;
			break;
				}
		case 'U' : {
			CMDE = MOVPARK;
			New_CMDE = 1;
			break;
				}
		case 'u' : {
			CMDE = MOVPARK;
			New_CMDE = 1;
			break;
				}
		default:
			New_CMDE = 1;
		}
		HAL_UART_Receive_IT(&huart3, &BLUE_RX, 1);

	}else if (huart->Instance == USART1) {

		int cx = snprintf(BLUE_ETAT_TX, 100, "XBee recu\n");
		HAL_UART_Transmit(&huart3, (uint8_t*) BLUE_ETAT_TX, cx, HAL_MAX_DELAY);

		if(XBEE_RX[0] == 'X' && (XBEE_RX[1] == adresse_robot || XBEE_RX[1] == 'X')) {

			cx = snprintf(BLUE_ETAT_TX, 100, "XBee tri\n");
			HAL_UART_Transmit(&huart3, (uint8_t*) BLUE_ETAT_TX, cx, HAL_MAX_DELAY);

			switch (XBEE_RX[2]) {

				case 'A' : { //r�ception demande d'adresse
					if( Mode == GOPARK) {

						adresse_cible_xbee = XBEE_RX[3];
						snprintf(XBEE_TX, 7, "X%ca%c---", adresse_cible_xbee, adresse_robot);
						HAL_UART_Transmit(&huart1, (uint8_t*) XBEE_TX, 7, HAL_MAX_DELAY);

					}
					break;
				}

				case 'a' : {//r�ception adresse
					if(Mode==PARKMODE) {

						adresse_cible_xbee  = XBEE_RX[3];

					}

					int cx = snprintf(BLUE_ETAT_TX, 100, "XBee recu\n");
					HAL_UART_Transmit(&huart3, (uint8_t*) BLUE_ETAT_TX, cx, HAL_MAX_DELAY);

					break;
				}

				case 'P' : { //ordre de se garer
					if(Mode==GOPARK) {

							position_test[2] = XBEE_RX[4]; //X
							position_test[0] = XBEE_RX[5]; //Y
							position_test[1] = XBEE_RX[6]; //Z
							position_recue = 1;

							snprintf(XBEE_TX, 7, "X%cp----", adresse_cible_xbee);
							HAL_UART_Transmit(&huart1, (uint8_t*) XBEE_TX, 7, HAL_MAX_DELAY);

					}

					break;
				}

				case 'p' : {
					if(Mode==PARKMODE) {

						confirmation_reception_position = 1;

					}

					break;
				}
			}
		}

		HAL_UART_Receive_IT(&huart1, XBEE_RX, 7);

	}
}

void HAL_ADC_ConvCpltCallback(ADC_HandleTypeDef *hadc)
{

	Dist_ACS_3 = adc_buffer[0] - adc_buffer[5];
	Dist_ACS_4 = adc_buffer[3] - adc_buffer[8];
	Dist_ACS_1 = adc_buffer[1] - adc_buffer[6];
	Dist_ACS_2 = adc_buffer[2] - adc_buffer[7];
	VBat = (adc_buffer[4]+adc_buffer[9])/2;
	HAL_ADC_Stop_DMA(hadc);
}

void HAL_TIM_PeriodElapsedCallback(TIM_HandleTypeDef * htim)
{
	static unsigned char cpt = 0;

	if ( htim->Instance == TIM2) {
		cpt++;
		Time++;
		T_sonar++;
		Tech++;
		Taddon++;
		Tservo++;
		TRotation ++;

		switch (cpt) {
		case 1: {
			HAL_GPIO_WritePin(IR3_out_GPIO_Port, IR3_out_Pin, GPIO_PIN_SET);
			HAL_GPIO_WritePin(IR4_out_GPIO_Port, IR4_out_Pin, GPIO_PIN_SET);
			HAL_GPIO_WritePin(IR1_out_GPIO_Port, IR1_out_Pin, GPIO_PIN_SET);
			HAL_GPIO_WritePin(IR2_out_GPIO_Port, IR2_out_Pin, GPIO_PIN_SET);
			break;
		}
		case 2: {
			HAL_ADC_Start_DMA(&hadc1, (uint32_t *) adc_buffer, 10);
			break;
		}
		case 3: {
			HAL_GPIO_WritePin(IR3_out_GPIO_Port, IR3_out_Pin, GPIO_PIN_RESET);
			HAL_GPIO_WritePin(IR4_out_GPIO_Port, IR4_out_Pin, GPIO_PIN_RESET);
			HAL_GPIO_WritePin(IR1_out_GPIO_Port, IR1_out_Pin, GPIO_PIN_RESET);
			HAL_GPIO_WritePin(IR2_out_GPIO_Port, IR2_out_Pin, GPIO_PIN_RESET);
			break;
		}
		case 4: {
			HAL_ADC_Start_DMA(&hadc1, (uint32_t *) adc_buffer, 10);
			break;
		}
		default:
			cpt = 0;
		}
	}
}

void HAL_TIM_IC_CaptureCallback(TIM_HandleTypeDef *htim)
{
	HAL_GPIO_WritePin(GPIOB, GPIO_PIN_10, GPIO_PIN_RESET);

	if(htim->Channel == HAL_TIM_ACTIVE_CHANNEL_2) { // On est dans le falling-edge

		distance_sonar = HAL_TIM_ReadCapturedValue(&htim1, TIM_CHANNEL_2); // On obtient la distance en (cm)
		/*
		 * Chaque tick est d�clench� a chaque 56,25 us (64MHz + pre de 36)
		 * sachant que l'on a au plus 37,7 ms de distance, ca donne 667 ticks max.
		 * Sachant donc que 667 correspond a 650 cm alors x cm correspondent a ?
		 * distance(m) =  x*650/667
		 */
		distance_sonar = distance_sonar / 98;

	}

}

void HAL_GPIO_EXTI_Callback(uint16_t GPIO_Pin)
{

	static unsigned char TOGGLE = 0;

	if (TOGGLE) {
		CMDE = STOP;
		int cx = snprintf(BLUE_ETAT_TX, 100, "Robot STOP\n");
		HAL_UART_Transmit(&huart3, (uint8_t*) BLUE_ETAT_TX, cx, HAL_MAX_DELAY);
	}else {
		CMDE = START;
		int cx = snprintf(BLUE_ETAT_TX, 100, "Robot START\n");
		HAL_UART_Transmit(&huart3, (uint8_t*) BLUE_ETAT_TX, cx, HAL_MAX_DELAY);
	}

	TOGGLE = ~TOGGLE;
	New_CMDE = 1;

}

void HAL_GPIO_ACQ_SONAR(void)
{
	HAL_GPIO_WritePin(GPIOB, GPIO_PIN_10, GPIO_PIN_SET);
}
void HAL_MOV_SERVO(void)
{
	__HAL_TIM_SET_COMPARE(&htim1, TIM_CHANNEL_4, 7100);
	HAL_TIM_PWM_Start(&htim1, TIM_CHANNEL_4);
	__HAL_TIM_SET_COMPARE(&htim1, TIM_CHANNEL_4, 2300);
	HAL_TIM_PWM_Start(&htim1, TIM_CHANNEL_4);
	__HAL_TIM_SET_COMPARE(&htim1, TIM_CHANNEL_4, 800);
	HAL_TIM_PWM_Start(&htim1, TIM_CHANNEL_4);
}

void HAL_ADC_LevelOutOfWindowCallback(ADC_HandleTypeDef * hadc)
{
	HAL_GPIO_WritePin(GPIOA, GPIO_PIN_5, GPIO_PIN_SET);

}
/* USER CODE END 4 */

void _Error_Handler(char *file, int line)
{
  while(1)
  {
  }
}

/************************ (C) COPYRIGHT STMicroelectronics *****END OF FILE****/
